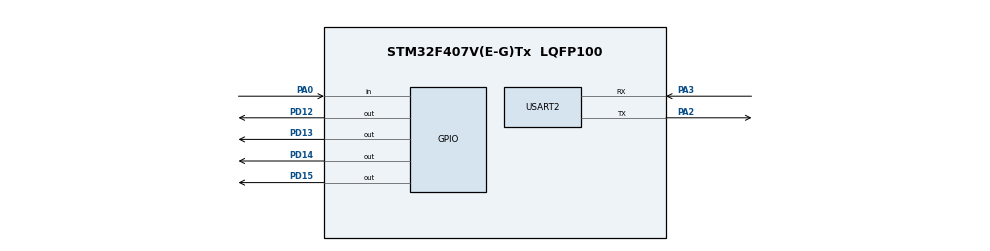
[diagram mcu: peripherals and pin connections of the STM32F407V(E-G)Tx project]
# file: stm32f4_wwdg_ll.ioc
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Mcu.Family=STM32F4
Mcu.Name=STM32F407V(E-G)Tx
Mcu.Package=LQFP100
NVIC.PriorityGroup=NVIC_PRIORITYGROUP_4
NVIC.WWDG_IRQn=true\:0\:0\:false\:false\:true\:true\:true
PA0-WKUP.Signal=GPIO_Input
PA2.Mode=Asynchronous
PA2.Signal=USART2_TX
PA3.Mode=Asynchronous
PA3.Signal=USART2_RX
PD12.Signal=GPIO_Output
PD13.Signal=GPIO_Output
PD14.Signal=GPIO_Output
PD15.Signal=GPIO_Output
PH0-OSC_IN.Mode=HSE-External-Oscillator
PH0-OSC_IN.Signal=RCC_OSC_IN
PH1-OSC_OUT.Mode=HSE-External-Oscillator
PH1-OSC_OUT.Signal=RCC_OSC_OUT
ProjectManager.HeapSize=0x200
ProjectManager.StackSize=0x400
ProjectManager.TargetToolchain=STM32CubeIDE
RCC.48MHZClocksFreq_Value=84000000
RCC.AHBFreq_Value=168000000
RCC.APB1CLKDivider=RCC_HCLK_DIV4
RCC.APB1Freq_Value=42000000
RCC.APB1TimFreq_Value=84000000
RCC.APB2CLKDivider=RCC_HCLK_DIV2
RCC.APB2Freq_Value=84000000
RCC.APB2TimFreq_Value=168000000
RCC.CortexFreq_Value=168000000
RCC.HCLKFreq_Value=168000000
RCC.HSE_VALUE=8000000
RCC.HSI_VALUE=16000000
RCC.LSE_VALUE=32768
RCC.PLLM=4
RCC.PLLN=168
RCC.PLLSourceVirtual=RCC_PLLSOURCE_HSE
RCC.SYSCLKFreq_VALUE=168000000
RCC.SYSCLKSource=RCC_SYSCLKSOURCE_PLLCLK
RCC.VCOOutputFreq_Value=336000000
USART2.VirtualMode=VM_ASYNC
VP_WWDG_VS_WWDG.Mode=WWDG_Activate
WWDG.Counter=127
WWDG.EWIMode=WWDG_EWI_ENABLE
WWDG.Prescaler=WWDG_PRESCALER_8
WWDG.Window=90
board=custom

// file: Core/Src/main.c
/* USER CODE BEGIN Header */
/**
  ******************************************************************************
  * @file           : main.c
  * @brief          : Main program body
  ******************************************************************************
  * @attention
  *
  * <h2><center>&copy; Copyright (c) 2022 STMicroelectronics.
  * All rights reserved.</center></h2>
  *
  * This software component is licensed by ST under BSD 3-Clause license,
  * the "License"; You may not use this file except in compliance with the
  * License. You may obtain a copy of the License at:
  *                        opensource.org/licenses/BSD-3-Clause
  *
  ******************************************************************************
  */
/* USER CODE END Header */
#include "main.h"

/* USER CODE BEGIN Includes */
#include <stdio.h>
/* USER CODE END Includes */

/* USER CODE BEGIN PV */
uint8_t btnflag = 0;
/* USER CODE END PV */

void SystemClock_Config(void);
static void MX_GPIO_Init(void);
static void MX_USART2_UART_Init(void);
static void MX_WWDG_Init(void);

/* USER CODE BEGIN 0 */
int __io_putchar (int ch)
{
  while (!LL_USART_IsActiveFlag_TXE(USART2));
  LL_USART_TransmitData8(USART2, (char)ch);
  return ch;
}

/* USER CODE END 0 */

int main(void)
{

  /* MCU Configuration--------------------------------------------------------*/

  /* Reset of all peripherals, Initializes the Flash interface and the Systick. */

  LL_APB2_GRP1_EnableClock(LL_APB2_GRP1_PERIPH_SYSCFG);
  LL_APB1_GRP1_EnableClock(LL_APB1_GRP1_PERIPH_PWR);

  NVIC_SetPriorityGrouping(NVIC_PRIORITYGROUP_4);

  /* System interrupt init*/
  /* SysTick_IRQn interrupt configuration */
  NVIC_SetPriority(SysTick_IRQn, NVIC_EncodePriority(NVIC_GetPriorityGrouping(),15, 0));

  /* Configure the system clock */
  SystemClock_Config();

  /* Initialize all configured peripherals */
  MX_GPIO_Init();
  MX_USART2_UART_Init();
  LL_mDelay(100);
  MX_WWDG_Init();
  /* USER CODE BEGIN 2 */
  if(LL_RCC_IsActiveFlag_WWDGRST())
  {
    printf ("Reset wywolany z WWDG\r\n");
    LL_RCC_ClearResetFlags();
  }
  else
  {
    printf("Reset bez WWDG\r\n");
  }
  /* USER CODE END 2 */

  /* Infinite loop */
  while (1)
  {
    /* USER CODE BEGIN 3 */
		if (LL_GPIO_IsInputPinSet(GPIOA , LL_GPIO_PIN_0) && btnflag == 0)
		{
			btnflag = 1;
		    LL_GPIO_TogglePin (GPIOD ,  LL_GPIO_PIN_15);
		    LL_mDelay(60) ;
		}
		else
		{
			LL_GPIO_TogglePin(GPIOD, LL_GPIO_PIN_12);
			LL_GPIO_TogglePin(GPIOD, LL_GPIO_PIN_13);
		    LL_GPIO_TogglePin(GPIOD, LL_GPIO_PIN_14);
			LL_mDelay(40) ;
		}

	    LL_WWDG_SetCounter(WWDG , 127);
  }
  /* USER CODE END 3 */
}

void SystemClock_Config(void)
{
  LL_FLASH_SetLatency(LL_FLASH_LATENCY_5);
  while(LL_FLASH_GetLatency()!= LL_FLASH_LATENCY_5)
  {
  }
  LL_PWR_SetRegulVoltageScaling(LL_PWR_REGU_VOLTAGE_SCALE1);
  LL_RCC_HSE_Enable();

   /* Wait till HSE is ready */
  while(LL_RCC_HSE_IsReady() != 1)
  {

  }
  LL_RCC_PLL_ConfigDomain_SYS(LL_RCC_PLLSOURCE_HSE, LL_RCC_PLLM_DIV_4, 168, LL_RCC_PLLP_DIV_2);
  LL_RCC_PLL_Enable();

   /* Wait till PLL is ready */
  while(LL_RCC_PLL_IsReady() != 1)
  {

  }
  LL_RCC_SetAHBPrescaler(LL_RCC_SYSCLK_DIV_1);
  LL_RCC_SetAPB1Prescaler(LL_RCC_APB1_DIV_4);
  LL_RCC_SetAPB2Prescaler(LL_RCC_APB2_DIV_2);
  LL_RCC_SetSysClkSource(LL_RCC_SYS_CLKSOURCE_PLL);

   /* Wait till System clock is ready */
  while(LL_RCC_GetSysClkSource() != LL_RCC_SYS_CLKSOURCE_STATUS_PLL)
  {

  }
  LL_Init1msTick(168000000);
  LL_SetSystemCoreClock(168000000);
}

static void MX_USART2_UART_Init(void)
{

  LL_USART_InitTypeDef USART_InitStruct = {0};

  LL_GPIO_InitTypeDef GPIO_InitStruct = {0};

  /* Peripheral clock enable */
  LL_APB1_GRP1_EnableClock(LL_APB1_GRP1_PERIPH_USART2);

  LL_AHB1_GRP1_EnableClock(LL_AHB1_GRP1_PERIPH_GPIOA);
  /**USART2 GPIO Configuration
  PA2   ------> USART2_TX
  PA3   ------> USART2_RX
  */
  GPIO_InitStruct.Pin = LL_GPIO_PIN_2|LL_GPIO_PIN_3;
  GPIO_InitStruct.Mode = LL_GPIO_MODE_ALTERNATE;
  GPIO_InitStruct.Speed = LL_GPIO_SPEED_FREQ_VERY_HIGH;
  GPIO_InitStruct.OutputType = LL_GPIO_OUTPUT_PUSHPULL;
  GPIO_InitStruct.Pull = LL_GPIO_PULL_NO;
  GPIO_InitStruct.Alternate = LL_GPIO_AF_7;
  LL_GPIO_Init(GPIOA, &GPIO_InitStruct);

  USART_InitStruct.BaudRate = 115200;
  USART_InitStruct.DataWidth = LL_USART_DATAWIDTH_8B;
  USART_InitStruct.StopBits = LL_USART_STOPBITS_1;
  USART_InitStruct.Parity = LL_USART_PARITY_NONE;
  USART_InitStruct.TransferDirection = LL_USART_DIRECTION_TX_RX;
  USART_InitStruct.HardwareFlowControl = LL_USART_HWCONTROL_NONE;
  USART_InitStruct.OverSampling = LL_USART_OVERSAMPLING_16;
  LL_USART_Init(USART2, &USART_InitStruct);
  LL_USART_ConfigAsyncMode(USART2);
  LL_USART_Enable(USART2);

}

static void MX_WWDG_Init(void)
{

  /* Peripheral clock enable */
  LL_APB1_GRP1_EnableClock(LL_APB1_GRP1_PERIPH_WWDG);

  /* WWDG interrupt Init */
  NVIC_SetPriority(WWDG_IRQn, NVIC_EncodePriority(NVIC_GetPriorityGrouping(),0, 0));
  NVIC_EnableIRQ(WWDG_IRQn);

  LL_WWDG_SetCounter(WWDG, 127);
  LL_WWDG_Enable(WWDG);
  LL_WWDG_SetPrescaler(WWDG, LL_WWDG_PRESCALER_8);
  LL_WWDG_SetWindow(WWDG, 90);
  LL_WWDG_EnableIT_EWKUP(WWDG);

}

static void MX_GPIO_Init(void)
{
  LL_GPIO_InitTypeDef GPIO_InitStruct = {0};

  /* GPIO Ports Clock Enable */
  LL_AHB1_GRP1_EnableClock(LL_AHB1_GRP1_PERIPH_GPIOH);
  LL_AHB1_GRP1_EnableClock(LL_AHB1_GRP1_PERIPH_GPIOA);
  LL_AHB1_GRP1_EnableClock(LL_AHB1_GRP1_PERIPH_GPIOD);

  /**/
  LL_GPIO_ResetOutputPin(GPIOD, LL_GPIO_PIN_12|LL_GPIO_PIN_13|LL_GPIO_PIN_14|LL_GPIO_PIN_15);

  /**/
  GPIO_InitStruct.Pin = LL_GPIO_PIN_0;
  GPIO_InitStruct.Mode = LL_GPIO_MODE_INPUT;
  GPIO_InitStruct.Pull = LL_GPIO_PULL_NO;
  LL_GPIO_Init(GPIOA, &GPIO_InitStruct);

  /**/
  GPIO_InitStruct.Pin = LL_GPIO_PIN_12|LL_GPIO_PIN_13|LL_GPIO_PIN_14|LL_GPIO_PIN_15;
  GPIO_InitStruct.Mode = LL_GPIO_MODE_OUTPUT;
  GPIO_InitStruct.Speed = LL_GPIO_SPEED_FREQ_LOW;
  GPIO_InitStruct.OutputType = LL_GPIO_OUTPUT_PUSHPULL;
  GPIO_InitStruct.Pull = LL_GPIO_PULL_NO;
  LL_GPIO_Init(GPIOD, &GPIO_InitStruct);

}

void Error_Handler(void)
{
  __disable_irq();
  while (1)
  {
  }
}

/************************ (C) COPYRIGHT STMicroelectronics *****END OF FILE****/
